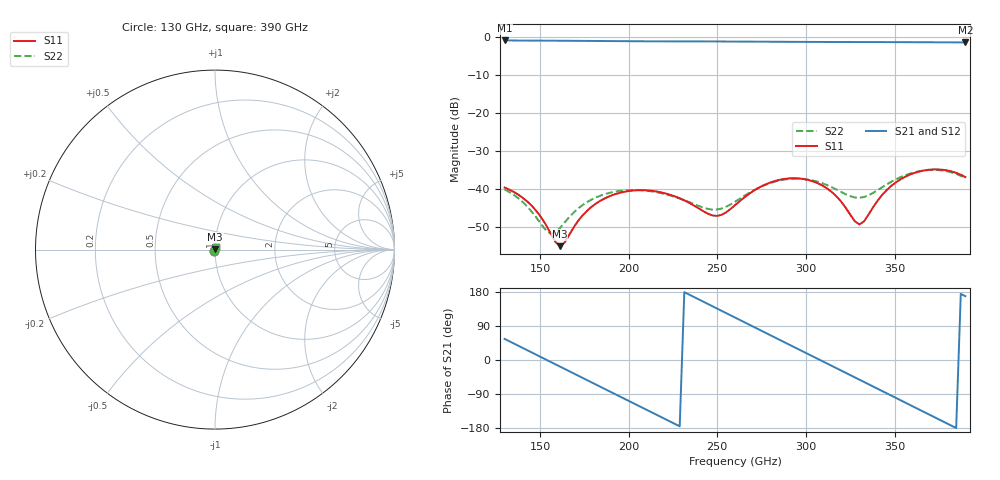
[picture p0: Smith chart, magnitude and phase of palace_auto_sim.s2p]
#  GHZ S DB R 50
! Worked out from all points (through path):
!   101 points, 130 GHz to 390 GHz, reference 50 ohm
!   highest |S21| = -0.78 dB at 130 GHz (marker M1); lowest = -1.3 dB at 390 GHz (marker M2)
!   group delay of S21, straight-line fit = 6.49 ps
!   lowest |S11| = -55.0 dB at 161.2 GHz (marker M3), VSWR 1.00, Z = 50.1 + j0.119 ohm
!   |S11| at or under -10 dB: start of sweep to end of sweep
!   |S22| runs from -51.6 to -34.9 dB; largest |S21 - S12| = 1.6e-14
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130  -39.52 -137.6  -0.78 55.6  -0.78 55.6  -40.03 -138.4
145.6  -44.46 165.3  -0.82 19.2  -0.82 19.2  -46.03 156.8
156  -51.60 105.2  -0.84 -5.2  -0.84 -5.2  -51.65 69.5
161.2  -54.95 41.7  -0.86 -17.3  -0.86 -17.3  -50.20 14.0
174.2  -46.74 -72.8  -0.89 -47.7  -0.89 -47.7  -44.06 -64.7
195  -40.90 -159.2  -0.96 -96.2  -0.96 -96.2  -40.40 -151.5
205.4  -40.21 162.7  -0.99 -120.4  -0.99 -120.4  -40.18 167.9
218.4  -40.80 117.3  -1.02 -150.7  -1.02 -150.7  -41.00 118.3
228.8  -42.34 80.3  -1.03 -174.9  -1.03 -174.9  -42.41 77.2
239.2  -44.91 35.1  -1.04 160.8  -1.04 160.8  -44.30 28.5
249.6  -46.99 -33.3  -1.05 136.4  -1.05 136.4  -45.32 -35.4
260  -44.17 -105.5  -1.07 112.1  -1.07 112.1  -43.26 -100.9
270.4  -40.40 -153.7  -1.09 87.7  -1.09 87.7  -40.29 -151.2
280.8  -38.04 169.0  -1.12 63.4  -1.12 63.4  -38.19 167.7
293.8  -37.07 127.0  -1.15 33.1  -1.15 33.1  -37.17 120.8
304.2  -37.91 93.9  -1.17 8.8  -1.17 8.8  -37.69 82.9
317.2  -41.81 47.4  -1.19 -21.5  -1.19 -21.5  -40.03 27.8
330.2  -49.22 -51.7  -1.20 -51.8  -1.20 -51.8  -42.21 -50.7
348.4  -39.00 -170.6  -1.22 -94.4  -1.22 -94.4  -37.95 -150.9
358.8  -36.09 157.8  -1.24 -118.8  -1.24 -118.8  -35.83 171.4
371.8  -34.75 122.0  -1.27 -149.1  -1.27 -149.1  -34.86 130.4
390  -36.76 71.1  -1.30 168.3  -1.30 168.3  -37.07 74.4
